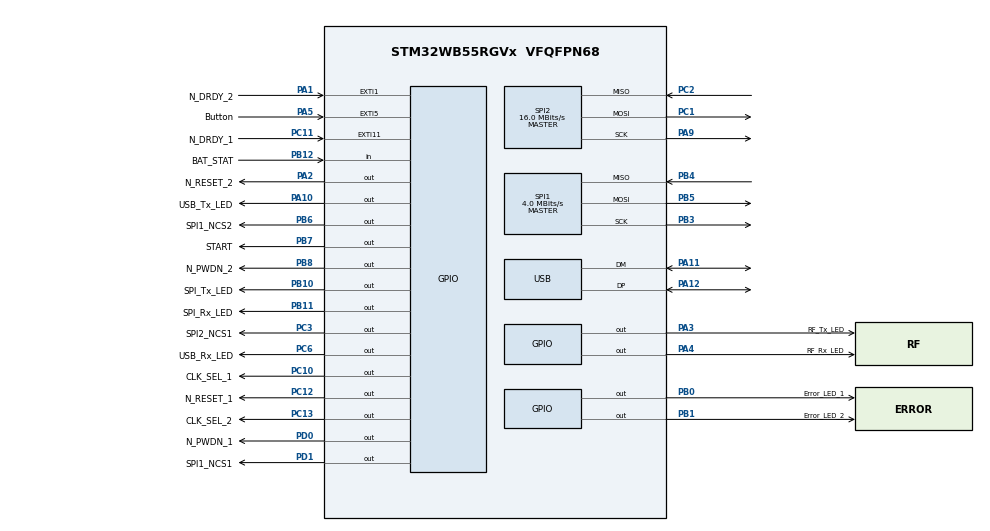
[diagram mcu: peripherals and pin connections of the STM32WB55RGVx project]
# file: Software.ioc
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Dma.Request0=SPI1_TX
Dma.Request1=SPI1_RX
Dma.SPI1_RX.1.Direction=DMA_PERIPH_TO_MEMORY
Dma.SPI1_RX.1.EventEnable=ENABLE
Dma.SPI1_RX.1.Instance=DMA1_Channel2
Dma.SPI1_RX.1.MemDataAlignment=DMA_MDATAALIGN_BYTE
Dma.SPI1_RX.1.MemInc=DMA_MINC_ENABLE
Dma.SPI1_RX.1.Mode=DMA_NORMAL
Dma.SPI1_RX.1.PeriphDataAlignment=DMA_PDATAALIGN_BYTE
Dma.SPI1_RX.1.PeriphInc=DMA_PINC_DISABLE
Dma.SPI1_RX.1.Polarity=HAL_DMAMUX_REQ_GEN_RISING
Dma.SPI1_RX.1.Priority=DMA_PRIORITY_LOW
Dma.SPI1_RX.1.RequestNumber=1
Dma.SPI1_RX.1.SignalID=NONE
Dma.SPI1_RX.1.SyncEnable=DISABLE
Dma.SPI1_RX.1.SyncPolarity=HAL_DMAMUX_SYNC_NO_EVENT
Dma.SPI1_RX.1.SyncRequestNumber=1
Dma.SPI1_RX.1.SyncSignalID=NONE
Dma.SPI1_TX.0.Direction=DMA_MEMORY_TO_PERIPH
Dma.SPI1_TX.0.EventEnable=DISABLE
Dma.SPI1_TX.0.Instance=DMA1_Channel1
Dma.SPI1_TX.0.MemDataAlignment=DMA_MDATAALIGN_BYTE
Dma.SPI1_TX.0.MemInc=DMA_MINC_ENABLE
Dma.SPI1_TX.0.Mode=DMA_NORMAL
Dma.SPI1_TX.0.PeriphDataAlignment=DMA_PDATAALIGN_BYTE
Dma.SPI1_TX.0.PeriphInc=DMA_PINC_DISABLE
Dma.SPI1_TX.0.Polarity=HAL_DMAMUX_REQ_GEN_RISING
Dma.SPI1_TX.0.Priority=DMA_PRIORITY_LOW
Dma.SPI1_TX.0.RequestNumber=1
Dma.SPI1_TX.0.SignalID=NONE
Dma.SPI1_TX.0.SyncEnable=DISABLE
Dma.SPI1_TX.0.SyncPolarity=HAL_DMAMUX_SYNC_NO_EVENT
Dma.SPI1_TX.0.SyncRequestNumber=1
Dma.SPI1_TX.0.SyncSignalID=NONE
FATFS.BOARD_NAME=stm32wb55rg
FATFS.DISKIO_CODE=1
Mcu.Family=STM32WB
Mcu.Name=STM32WB55RGVx
Mcu.Package=VFQFPN68
NVIC.DMA1_Channel1_IRQn=true\:0\:0\:false\:false\:true\:false\:true\:true
NVIC.DMA1_Channel2_IRQn=true\:0\:0\:false\:false\:true\:false\:true\:true
NVIC.DMAMUX1_OVR_IRQn=true\:0\:0\:false\:false\:true\:false\:true\:true
NVIC.EXTI15_10_IRQn=true\:0\:0\:false\:false\:true\:true\:true\:true
NVIC.EXTI1_IRQn=true\:0\:0\:false\:false\:true\:true\:true\:true
NVIC.EXTI9_5_IRQn=true\:15\:0\:true\:false\:true\:true\:true\:true
NVIC.PriorityGroup=NVIC_PRIORITYGROUP_4
NVIC.SPI2_IRQn=true\:0\:0\:false\:false\:true\:true\:true\:true
NVIC.TIM1_CC_IRQn=true\:0\:0\:false\:false\:true\:true\:true\:true
NVIC.TIM2_IRQn=true\:0\:0\:false\:false\:true\:true\:true\:true
NVIC.USB_LP_IRQn=true\:0\:0\:false\:false\:true\:false\:true\:true
OSC_IN.Mode=HSE-External-Oscillator
OSC_IN.Signal=RCC_OSC_IN
OSC_OUT.Mode=HSE-External-Oscillator
OSC_OUT.Signal=RCC_OSC_OUT
PA1.GPIO_Label=N_DRDY_2
PA1.GPIO_ModeDefaultEXTI=GPIO_MODE_IT_FALLING
PA1.GPIO_PuPd=GPIO_PULLUP
PA1.Signal=GPXTI1
PA10.GPIO_Label=USB_Tx_LED
PA10.Signal=GPIO_Output
PA11.Mode=Device
PA11.Signal=USB_DM
PA12.Mode=Device
PA12.Signal=USB_DP
PA13.Mode=Serial_Wire
PA13.Signal=SYS_JTMS-SWDIO
PA14.Mode=Serial_Wire
PA14.Signal=SYS_JTCK-SWCLK
PA2.GPIO_Label=N_RESET_2
PA2.Signal=GPIO_Output
PA3.GPIO_Label=RF_Tx_LED
PA3.Signal=GPIO_Output
PA4.GPIO_Label=RF_Rx_LED
PA4.Signal=GPIO_Output
PA5.GPIO_Label=Button
PA5.GPIO_PuPd=GPIO_PULLDOWN
PA5.Signal=GPXTI5
PA9.GPIO_PuPd=GPIO_PULLUP
PA9.Mode=Full_Duplex_Master
PA9.Signal=SPI2_SCK
PB0.GPIO_Label=Error_LED_1
PB0.Signal=GPIO_Output
PB1.GPIO_Label=Error_LED_2
PB1.Signal=GPIO_Output
PB10.GPIO_Label=SPI_Tx_LED
PB10.Signal=GPIO_Output
PB11.GPIO_Label=SPI_Rx_LED
PB11.Signal=GPIO_Output
PB12.GPIO_Label=BAT_STAT
PB12.Signal=GPIO_Input
PB3.Mode=Full_Duplex_Master
PB3.Signal=SPI1_SCK
PB4.Mode=Full_Duplex_Master
PB4.Signal=SPI1_MISO
PB5.Mode=Full_Duplex_Master
PB5.Signal=SPI1_MOSI
PB6.GPIO_Label=SPI1_NCS2
PB6.Signal=GPIO_Output
PB7.GPIO_Label=START
PB7.Signal=GPIO_Output
PB8.GPIO_Label=N_PWDN_2
PB8.Signal=GPIO_Output
PC1.GPIO_PuPd=GPIO_NOPULL
PC1.Mode=Full_Duplex_Master
PC1.Signal=SPI2_MOSI
PC10.GPIO_Label=CLK_SEL_1
PC10.Signal=GPIO_Output
PC11.GPIO_Label=N_DRDY_1
PC11.GPIO_ModeDefaultEXTI=GPIO_MODE_IT_FALLING
PC11.GPIO_PuPd=GPIO_PULLUP
PC11.Signal=GPXTI11
PC12.GPIO_Label=N_RESET_1
PC12.Signal=GPIO_Output
PC13.GPIO_Label=CLK_SEL_2
PC13.Signal=GPIO_Output
PC14-OSC32_IN.Mode=LSE-External-Oscillator
PC14-OSC32_IN.Signal=RCC_OSC32_IN
PC15-OSC32_OUT.Mode=LSE-External-Oscillator
PC15-OSC32_OUT.Signal=RCC_OSC32_OUT
PC2.GPIO_PuPd=GPIO_NOPULL
PC2.Mode=Full_Duplex_Master
PC2.Signal=SPI2_MISO
PC3.GPIO_Label=SPI2_NCS1
PC3.GPIO_PuPd=GPIO_PULLUP
PC3.PinState=GPIO_PIN_SET
PC3.Signal=GPIO_Output
PC6.GPIO_Label=USB_Rx_LED
PC6.Signal=GPIO_Output
PD0.GPIO_Label=N_PWDN_1
PD0.Signal=GPIO_Output
PD1.GPIO_Label=SPI1_NCS1
PD1.Signal=GPIO_Output
ProjectManager.HeapSize=0x2000
ProjectManager.StackSize=0x4000
ProjectManager.TargetToolchain=MDK-ARM V5.32
RCC.ADCFreq_Value=48000000
RCC.AHB2CLKDivider=RCC_SYSCLK_DIV2
RCC.AHBFreq_Value=64000000
RCC.APB1Freq_Value=64000000
RCC.APB1TimFreq_Value=64000000
RCC.APB2Freq_Value=64000000
RCC.APB2TimFreq_Value=64000000
RCC.APB3Freq_Value=4000000
RCC.Cortex2_Div=SYSTICK_CLKSOURCE_HCLK_DIV8
RCC.CortexFreq_Value=64000000
RCC.HCLKFreq_Value=64000000
RCC.HSE_VALUE=8000000
RCC.HSI48_VALUE=48000000
RCC.HSI_VALUE=16000000
RCC.PLLN=32
RCC.PLLSAI1N=24
RCC.RTCClockSelection=RCC_RTCCLKSOURCE_LSE
RCC.SYSCLKFreq_VALUE=64000000
RCC.SYSCLKSource=RCC_SYSCLKSOURCE_PLLCLK
RCC.USBFreq_Value=48000000
RCC.VCOOutputFreq_Value=128000000
RTC.AsynchPrediv=31
RTC.SynchPrediv=1023
SPI1.BaudRatePrescaler=SPI_BAUDRATEPRESCALER_16
SPI1.CLKPhase=SPI_PHASE_2EDGE
SPI1.CalculateBaudRate=4.0 MBits/s
SPI1.DataSize=SPI_DATASIZE_8BIT
SPI1.Direction=SPI_DIRECTION_2LINES
SPI1.Mode=SPI_MODE_MASTER
SPI1.VirtualType=VM_MASTER
SPI2.BaudRatePrescaler=SPI_BAUDRATEPRESCALER_4
SPI2.CalculateBaudRate=16.0 MBits/s
SPI2.DataSize=SPI_DATASIZE_8BIT
SPI2.Direction=SPI_DIRECTION_2LINES
SPI2.Mode=SPI_MODE_MASTER
SPI2.NSSPMode=SPI_NSS_PULSE_DISABLE
SPI2.VirtualType=VM_MASTER
TIM1.AutoReloadPreload=TIM_AUTORELOAD_PRELOAD_DISABLE
TIM1.Channel-Output\ Compare1\ No\ Output=TIM_CHANNEL_1
TIM1.OC1Preload=DISABLE
TIM1.Period=999
TIM1.Prescaler=32000
TIM1.Pulse-Output\ Compare1\ No\ Output=999
TIM2.AutoReloadPreload=TIM_AUTORELOAD_PRELOAD_ENABLE
TIM2.Period=999
TIM2.Prescaler=32000
TIM2.TIM_MasterOutputTrigger=TIM_TRGO_OC1
USB_DEVICE.CLASS_NAME_FS=CDC
USB_DEVICE.VirtualMode=Cdc
USB_DEVICE.VirtualModeFS=Cdc_FS
VP_FATFS_VS_Generic.Mode=User_defined
VP_RTC_VS_RTC_Activate.Mode=RTC_Enabled
VP_RTC_VS_RTC_Calendar.Mode=RTC_Calendar
VP_TIM1_VS_no_output1.Mode=Output Compare1 No Output
VP_TIM2_VS_ClockSourceINT.Mode=Internal
VP_TIM2_VS_ClockSourceITR.Mode=TriggerSource_ITR0
VP_USB_DEVICE_VS_USB_DEVICE_CDC_FS.Mode=CDC_FS
board=custom

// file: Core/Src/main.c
/* USER CODE BEGIN Header */
/**
  ******************************************************************************
  * @file           : main.c
  * @brief          : Main program body
  ******************************************************************************
  * @attention
  *
  * Copyright (c) 2024 STMicroelectronics.
  * All rights reserved.
  *
  * This software is licensed under terms that can be found in the LICENSE file
  * in the root directory of this software component.
  * If no LICENSE file comes with this software, it is provided AS-IS.
  *
  ******************************************************************************
  */
/* USER CODE END Header */
#include "main.h"
#include "app_fatfs.h"
#include "usb_device.h"

/* USER CODE BEGIN Includes */
#include <string.h>
#include "ads1299.h"
#include "usbd_cdc_if.h"
#include "ff_gen_drv.h"
#include "sd_diskio.h"
/* USER CODE END Includes */

/* USER CODE BEGIN PD */
#define BUFFER1 0
#define BUFFER2 1
/* USER CODE END PD */

RTC_HandleTypeDef hrtc;

SPI_HandleTypeDef hspi1;
SPI_HandleTypeDef hspi2;
DMA_HandleTypeDef hdma_spi1_tx;
DMA_HandleTypeDef hdma_spi1_rx;

TIM_HandleTypeDef htim1;
TIM_HandleTypeDef htim2;

/* USER CODE BEGIN PV */
uint8_t *dataReading;
int32_t dataProcessed[8];
char adc_data_str_buff1[60000];
char adc_data_str_buff2[60000];
char adc_data_str[200];
uint32_t adc_data_count = 0;
uint8_t WRITEBUFFER = BUFFER1;
uint8_t LOCK1 = 0;
uint8_t FULL1 = 0;
uint8_t LOCK2 = 0;
uint8_t FULL2 = 0;
uint8_t RUN = 0;
uint8_t DEMOUNT = 0;
uint8_t MOUNT = 0;
uint32_t timeMeasure[10];
uint32_t buff_i = 0;

/* SD Card*/
FRESULT res;
FIL myFile;

RTC_TimeTypeDef stime;
RTC_DateTypeDef sdate;

char log_file[32] = "Log.csv";

/* USER CODE END PV */

void SystemClock_Config(void);
void PeriphCommonClock_Config(void);
static void MX_GPIO_Init(void);
static void MX_DMA_Init(void);
static void MX_SPI1_Init(void);
static void MX_SPI2_Init(void);
static void MX_RTC_Init(void);
static void MX_TIM2_Init(void);
static void MX_TIM1_Init(void);
/* USER CODE BEGIN PFP */

int16_t FS_FILE_Write(char *data);
FRESULT sd_mount(void);
FRESULT sd_unmount(void);
void buttonTask(void);

/* USER CODE END PFP */

int main(void)
{

  /* MCU Configuration--------------------------------------------------------*/

  /* Reset of all peripherals, Initializes the Flash interface and the Systick. */
  HAL_Init();

  /* Configure the system clock */
  SystemClock_Config();

/* Configure the peripherals common clocks */
  PeriphCommonClock_Config();

  /* Initialize all configured peripherals */
  MX_GPIO_Init();
  MX_DMA_Init();
  MX_SPI1_Init();
  MX_SPI2_Init();
  if (MX_FATFS_Init() != APP_OK) {
    Error_Handler();
  }
  MX_USB_Device_Init();
  MX_RTC_Init();
  MX_TIM2_Init();
  MX_TIM1_Init();
  /* USER CODE BEGIN 2 */

	/* Init SD Card*/
	BSP_SD_Init();

	/* Enable Timer for LEDs */
	HAL_TIM_OC_Start(&htim1, 1);

	/* ADS1299 Initialization */
	ADS1299_Init(&hspi1, SPI1_NCS1_GPIO_Port, SPI1_NCS1_Pin, CLK_SEL_1_GPIO_Port, CLK_SEL_1_Pin, false,
	N_PWDN_1_GPIO_Port , N_PWDN_1_Pin, N_RESET_1_GPIO_Port, N_RESET_1_Pin);

	/* activate conversion */
	HAL_GPIO_WritePin(START_GPIO_Port, START_Pin, GPIO_PIN_SET);
	HAL_Delay(100);

  /* USER CODE END 2 */

  /* Infinite loop */
  /* USER CODE BEGIN WHILE */
  while (1)
  {
			/* SD-Card Writing was activated by button push */
			if(MOUNT){
				/* Init Write file */
				/* Mount SD Card */
				res = sd_mount();
				/* Check if mounting was successfull */
				if(res != FR_OK) {
					HAL_GPIO_WritePin(Error_LED_1_GPIO_Port, Error_LED_1_Pin, GPIO_PIN_SET);
				}

				/* Open file in append and write mode */
				res = f_open(&myFile, log_file, FA_OPEN_APPEND | FA_WRITE);
				/* Check if file opening was successfull */
				if(res != FR_OK) {
					HAL_GPIO_WritePin(Error_LED_1_GPIO_Port, Error_LED_1_Pin, GPIO_PIN_SET);
					sd_unmount();
				}

				/* Mount was successfull, deactivate MOUNT Flag */
				MOUNT = 0;

				/* Write header line to file */
				FS_FILE_Write("timestamp;value1;value2;value3;value4;value5;value6;value7;value8\n");
			}

			/* SD Card Writing is active */
			if(RUN){
				/*
				 * Write one of the two write buffers to the sd card. One of the two FULL
				 * Flags is set at any time, the other one is false. The full buffer is
				 * written to the sd-card. The other buffer is filled with new measurement
				 * data at the same time by an interrrupt with higher priority (HAL_SPI_TxRxCpltCallback).
				 */
				if(FULL1){
				/* Mark start write */
				HAL_GPIO_WritePin(SPI_Tx_LED_GPIO_Port, SPI_Tx_LED_Pin, GPIO_PIN_SET);
				/* Write SD Card */
				FS_FILE_Write(adc_data_str_buff1);
				/* Empty data buffer */
				strncpy(adc_data_str_buff1, "",1);
				/* Mark buffer as emptied */
				FULL1 = 0;
				/* Mark write finished */
				HAL_GPIO_WritePin(SPI_Tx_LED_GPIO_Port, SPI_Tx_LED_Pin, GPIO_PIN_RESET);
				}
				if(FULL2){
				/* Mark start write */
  			HAL_GPIO_WritePin(SPI_Tx_LED_GPIO_Port,  SPI_Tx_LED_Pin, GPIO_PIN_SET);
				/* Write SD Card */
				FS_FILE_Write(adc_data_str_buff2);
				/* Empty data buffer */
				strncpy(adc_data_str_buff2, "",1);
				/* Mark buffer as emptied */
				FULL2 = 0;
				/* Mark write finished */
				HAL_GPIO_WritePin(SPI_Tx_LED_GPIO_Port, SPI_Tx_LED_Pin, GPIO_PIN_RESET);
				}
			}

			/* SD-Card Writing was deactivated by button push */
			if(DEMOUNT){
				/* Close write file */
				res = f_close(&myFile);
				/* Unmount SD Card*/
				res = sd_unmount();
				/* DEMOUNT was successfull, deactivate DEMOUNT Flag */
				DEMOUNT = 0;
			}

    /* USER CODE END WHILE */

  }
}

void SystemClock_Config(void)
{
  RCC_OscInitTypeDef RCC_OscInitStruct = {0};
  RCC_ClkInitTypeDef RCC_ClkInitStruct = {0};

  /** Configure LSE Drive Capability
  */
  HAL_PWR_EnableBkUpAccess();
  __HAL_RCC_LSEDRIVE_CONFIG(RCC_LSEDRIVE_MEDIUMHIGH);

  /** Configure the main internal regulator output voltage
  */
  __HAL_PWR_VOLTAGESCALING_CONFIG(PWR_REGULATOR_VOLTAGE_SCALE1);

  /** Initializes the RCC Oscillators according to the specified parameters
  * in the RCC_OscInitTypeDef structure.
  */
  RCC_OscInitStruct.OscillatorType = RCC_OSCILLATORTYPE_HSI|RCC_OSCILLATORTYPE_HSE
                              |RCC_OSCILLATORTYPE_LSE|RCC_OSCILLATORTYPE_MSI;
  RCC_OscInitStruct.HSEState = RCC_HSE_ON;
  RCC_OscInitStruct.LSEState = RCC_LSE_ON;
  RCC_OscInitStruct.HSIState = RCC_HSI_ON;
  RCC_OscInitStruct.MSIState = RCC_MSI_ON;
  RCC_OscInitStruct.HSICalibrationValue = RCC_HSICALIBRATION_DEFAULT;
  RCC_OscInitStruct.MSICalibrationValue = RCC_MSICALIBRATION_DEFAULT;
  RCC_OscInitStruct.MSIClockRange = RCC_MSIRANGE_6;
  RCC_OscInitStruct.PLL.PLLState = RCC_PLL_ON;
  RCC_OscInitStruct.PLL.PLLSource = RCC_PLLSOURCE_MSI;
  RCC_OscInitStruct.PLL.PLLM = RCC_PLLM_DIV1;
  RCC_OscInitStruct.PLL.PLLN = 32;
  RCC_OscInitStruct.PLL.PLLP = RCC_PLLP_DIV2;
  RCC_OscInitStruct.PLL.PLLR = RCC_PLLR_DIV2;
  RCC_OscInitStruct.PLL.PLLQ = RCC_PLLQ_DIV2;
  if (HAL_RCC_OscConfig(&RCC_OscInitStruct) != HAL_OK)
  {
    Error_Handler();
  }

  /** Configure the SYSCLKSource, HCLK, PCLK1 and PCLK2 clocks dividers
  */
  RCC_ClkInitStruct.ClockType = RCC_CLOCKTYPE_HCLK4|RCC_CLOCKTYPE_HCLK2
                              |RCC_CLOCKTYPE_HCLK|RCC_CLOCKTYPE_SYSCLK
                              |RCC_CLOCKTYPE_PCLK1|RCC_CLOCKTYPE_PCLK2;
  RCC_ClkInitStruct.SYSCLKSource = RCC_SYSCLKSOURCE_PLLCLK;
  RCC_ClkInitStruct.AHBCLKDivider = RCC_SYSCLK_DIV1;
  RCC_ClkInitStruct.APB1CLKDivider = RCC_HCLK_DIV1;
  RCC_ClkInitStruct.APB2CLKDivider = RCC_HCLK_DIV1;
  RCC_ClkInitStruct.AHBCLK2Divider = RCC_SYSCLK_DIV2;
  RCC_ClkInitStruct.AHBCLK4Divider = RCC_SYSCLK_DIV1;

  if (HAL_RCC_ClockConfig(&RCC_ClkInitStruct, FLASH_LATENCY_3) != HAL_OK)
  {
    Error_Handler();
  }

  /** Enable MSI Auto calibration
  */
  HAL_RCCEx_EnableMSIPLLMode();
}

void PeriphCommonClock_Config(void)
{
  RCC_PeriphCLKInitTypeDef PeriphClkInitStruct = {0};

  /** Initializes the peripherals clock
  */
  PeriphClkInitStruct.PeriphClockSelection = RCC_PERIPHCLK_SMPS;
  PeriphClkInitStruct.SmpsClockSelection = RCC_SMPSCLKSOURCE_HSI;
  PeriphClkInitStruct.SmpsDivSelection = RCC_SMPSCLKDIV_RANGE1;

  if (HAL_RCCEx_PeriphCLKConfig(&PeriphClkInitStruct) != HAL_OK)
  {
    Error_Handler();
  }
}

static void MX_RTC_Init(void)
{

  RTC_TimeTypeDef sTime = {0};
  RTC_DateTypeDef sDate = {0};

  /** Initialize RTC Only
  */
  hrtc.Instance = RTC;
  hrtc.Init.HourFormat = RTC_HOURFORMAT_24;
  hrtc.Init.AsynchPrediv = 31;
  hrtc.Init.SynchPrediv = 1023;
  hrtc.Init.OutPut = RTC_OUTPUT_DISABLE;
  hrtc.Init.OutPutPolarity = RTC_OUTPUT_POLARITY_HIGH;
  hrtc.Init.OutPutType = RTC_OUTPUT_TYPE_OPENDRAIN;
  hrtc.Init.OutPutRemap = RTC_OUTPUT_REMAP_NONE;
  if (HAL_RTC_Init(&hrtc) != HAL_OK)
  {
    Error_Handler();
  }

  /** Initialize RTC and set the Time and Date
  */
  sTime.Hours = 0x0;
  sTime.Minutes = 0x0;
  sTime.Seconds = 0x0;
  sTime.SubSeconds = 0x0;
  sTime.DayLightSaving = RTC_DAYLIGHTSAVING_NONE;
  sTime.StoreOperation = RTC_STOREOPERATION_RESET;
  if (HAL_RTC_SetTime(&hrtc, &sTime, RTC_FORMAT_BCD) != HAL_OK)
  {
    Error_Handler();
  }
  sDate.WeekDay = RTC_WEEKDAY_MONDAY;
  sDate.Month = RTC_MONTH_JANUARY;
  sDate.Date = 0x1;
  sDate.Year = 0x0;

  if (HAL_RTC_SetDate(&hrtc, &sDate, RTC_FORMAT_BCD) != HAL_OK)
  {
    Error_Handler();
  }

}

static void MX_SPI1_Init(void)
{

  /* SPI1 parameter configuration*/
  hspi1.Instance = SPI1;
  hspi1.Init.Mode = SPI_MODE_MASTER;
  hspi1.Init.Direction = SPI_DIRECTION_2LINES;
  hspi1.Init.DataSize = SPI_DATASIZE_8BIT;
  hspi1.Init.CLKPolarity = SPI_POLARITY_LOW;
  hspi1.Init.CLKPhase = SPI_PHASE_2EDGE;
  hspi1.Init.NSS = SPI_NSS_SOFT;
  hspi1.Init.BaudRatePrescaler = SPI_BAUDRATEPRESCALER_16;
  hspi1.Init.FirstBit = SPI_FIRSTBIT_MSB;
  hspi1.Init.TIMode = SPI_TIMODE_DISABLE;
  hspi1.Init.CRCCalculation = SPI_CRCCALCULATION_DISABLE;
  hspi1.Init.CRCPolynomial = 7;
  hspi1.Init.CRCLength = SPI_CRC_LENGTH_DATASIZE;
  hspi1.Init.NSSPMode = SPI_NSS_PULSE_DISABLE;
  if (HAL_SPI_Init(&hspi1) != HAL_OK)
  {
    Error_Handler();
  }

}

static void MX_SPI2_Init(void)
{

  /* SPI2 parameter configuration*/
  hspi2.Instance = SPI2;
  hspi2.Init.Mode = SPI_MODE_MASTER;
  hspi2.Init.Direction = SPI_DIRECTION_2LINES;
  hspi2.Init.DataSize = SPI_DATASIZE_8BIT;
  hspi2.Init.CLKPolarity = SPI_POLARITY_LOW;
  hspi2.Init.CLKPhase = SPI_PHASE_1EDGE;
  hspi2.Init.NSS = SPI_NSS_SOFT;
  hspi2.Init.BaudRatePrescaler = SPI_BAUDRATEPRESCALER_4;
  hspi2.Init.FirstBit = SPI_FIRSTBIT_MSB;
  hspi2.Init.TIMode = SPI_TIMODE_DISABLE;
  hspi2.Init.CRCCalculation = SPI_CRCCALCULATION_DISABLE;
  hspi2.Init.CRCPolynomial = 7;
  hspi2.Init.CRCLength = SPI_CRC_LENGTH_DATASIZE;
  hspi2.Init.NSSPMode = SPI_NSS_PULSE_DISABLE;
  if (HAL_SPI_Init(&hspi2) != HAL_OK)
  {
    Error_Handler();
  }

}

static void MX_TIM1_Init(void)
{

  TIM_MasterConfigTypeDef sMasterConfig = {0};
  TIM_OC_InitTypeDef sConfigOC = {0};
  TIM_BreakDeadTimeConfigTypeDef sBreakDeadTimeConfig = {0};

  htim1.Instance = TIM1;
  htim1.Init.Prescaler = 32000;
  htim1.Init.CounterMode = TIM_COUNTERMODE_UP;
  htim1.Init.Period = 999;
  htim1.Init.ClockDivision = TIM_CLOCKDIVISION_DIV1;
  htim1.Init.RepetitionCounter = 0;
  htim1.Init.AutoReloadPreload = TIM_AUTORELOAD_PRELOAD_DISABLE;
  if (HAL_TIM_OC_Init(&htim1) != HAL_OK)
  {
    Error_Handler();
  }
  sMasterConfig.MasterOutputTrigger = TIM_TRGO_RESET;
  sMasterConfig.MasterOutputTrigger2 = TIM_TRGO2_RESET;
  sMasterConfig.MasterSlaveMode = TIM_MASTERSLAVEMODE_DISABLE;
  if (HAL_TIMEx_MasterConfigSynchronization(&htim1, &sMasterConfig) != HAL_OK)
  {
    Error_Handler();
  }
  sConfigOC.OCMode = TIM_OCMODE_TIMING;
  sConfigOC.Pulse = 999;
  sConfigOC.OCPolarity = TIM_OCPOLARITY_HIGH;
  sConfigOC.OCNPolarity = TIM_OCNPOLARITY_HIGH;
  sConfigOC.OCFastMode = TIM_OCFAST_DISABLE;
  sConfigOC.OCIdleState = TIM_OCIDLESTATE_RESET;
  sConfigOC.OCNIdleState = TIM_OCNIDLESTATE_RESET;
  if (HAL_TIM_OC_ConfigChannel(&htim1, &sConfigOC, TIM_CHANNEL_1) != HAL_OK)
  {
    Error_Handler();
  }
  sBreakDeadTimeConfig.OffStateRunMode = TIM_OSSR_DISABLE;
  sBreakDeadTimeConfig.OffStateIDLEMode = TIM_OSSI_DISABLE;
  sBreakDeadTimeConfig.LockLevel = TIM_LOCKLEVEL_OFF;
  sBreakDeadTimeConfig.DeadTime = 0;
  sBreakDeadTimeConfig.BreakState = TIM_BREAK_DISABLE;
  sBreakDeadTimeConfig.BreakPolarity = TIM_BREAKPOLARITY_HIGH;
  sBreakDeadTimeConfig.BreakFilter = 0;
  sBreakDeadTimeConfig.BreakAFMode = TIM_BREAK_AFMODE_INPUT;
  sBreakDeadTimeConfig.Break2State = TIM_BREAK2_DISABLE;
  sBreakDeadTimeConfig.Break2Polarity = TIM_BREAK2POLARITY_HIGH;
  sBreakDeadTimeConfig.Break2Filter = 0;
  sBreakDeadTimeConfig.Break2AFMode = TIM_BREAK_AFMODE_INPUT;
  sBreakDeadTimeConfig.AutomaticOutput = TIM_AUTOMATICOUTPUT_DISABLE;
  if (HAL_TIMEx_ConfigBreakDeadTime(&htim1, &sBreakDeadTimeConfig) != HAL_OK)
  {
    Error_Handler();
  }

}

static void MX_TIM2_Init(void)
{

  TIM_ClockConfigTypeDef sClockSourceConfig = {0};
  TIM_SlaveConfigTypeDef sSlaveConfig = {0};
  TIM_MasterConfigTypeDef sMasterConfig = {0};

  htim2.Instance = TIM2;
  htim2.Init.Prescaler = 32000;
  htim2.Init.CounterMode = TIM_COUNTERMODE_UP;
  htim2.Init.Period = 999;
  htim2.Init.ClockDivision = TIM_CLOCKDIVISION_DIV1;
  htim2.Init.AutoReloadPreload = TIM_AUTORELOAD_PRELOAD_ENABLE;
  if (HAL_TIM_Base_Init(&htim2) != HAL_OK)
  {
    Error_Handler();
  }
  sClockSourceConfig.ClockSource = TIM_CLOCKSOURCE_INTERNAL;
  if (HAL_TIM_ConfigClockSource(&htim2, &sClockSourceConfig) != HAL_OK)
  {
    Error_Handler();
  }
  sSlaveConfig.SlaveMode = TIM_SLAVEMODE_DISABLE;
  sSlaveConfig.InputTrigger = TIM_TS_ITR0;
  if (HAL_TIM_SlaveConfigSynchro(&htim2, &sSlaveConfig) != HAL_OK)
  {
    Error_Handler();
  }
  sMasterConfig.MasterOutputTrigger = TIM_TRGO_OC1;
  sMasterConfig.MasterSlaveMode = TIM_MASTERSLAVEMODE_DISABLE;
  if (HAL_TIMEx_MasterConfigSynchronization(&htim2, &sMasterConfig) != HAL_OK)
  {
    Error_Handler();
  }

}

static void MX_DMA_Init(void)
{

  /* DMA controller clock enable */
  __HAL_RCC_DMAMUX1_CLK_ENABLE();
  __HAL_RCC_DMA1_CLK_ENABLE();

  /* DMA interrupt init */
  /* DMA1_Channel1_IRQn interrupt configuration */
  HAL_NVIC_SetPriority(DMA1_Channel1_IRQn, 0, 0);
  HAL_NVIC_EnableIRQ(DMA1_Channel1_IRQn);
  /* DMA1_Channel2_IRQn interrupt configuration */
  HAL_NVIC_SetPriority(DMA1_Channel2_IRQn, 0, 0);
  HAL_NVIC_EnableIRQ(DMA1_Channel2_IRQn);
  /* DMAMUX1_OVR_IRQn interrupt configuration */
  HAL_NVIC_SetPriority(DMAMUX1_OVR_IRQn, 0, 0);
  HAL_NVIC_EnableIRQ(DMAMUX1_OVR_IRQn);

}

static void MX_GPIO_Init(void)
{
  GPIO_InitTypeDef GPIO_InitStruct = {0};

  /* GPIO Ports Clock Enable */
  __HAL_RCC_GPIOC_CLK_ENABLE();
  __HAL_RCC_GPIOB_CLK_ENABLE();
  __HAL_RCC_GPIOA_CLK_ENABLE();
  __HAL_RCC_GPIOD_CLK_ENABLE();

  /*Configure GPIO pin Output Level */
  HAL_GPIO_WritePin(GPIOC, CLK_SEL_2_Pin|USB_Rx_LED_Pin|CLK_SEL_1_Pin|N_RESET_1_Pin, GPIO_PIN_RESET);

  /*Configure GPIO pin Output Level */
  HAL_GPIO_WritePin(GPIOB, N_PWDN_2_Pin|SPI_Tx_LED_Pin|SPI_Rx_LED_Pin|Error_LED_1_Pin
                          |Error_LED_2_Pin|SPI1_NCS2_Pin|START_Pin, GPIO_PIN_RESET);

  /*Configure GPIO pin Output Level */
  HAL_GPIO_WritePin(SPI2_NCS1_GPIO_Port, SPI2_NCS1_Pin, GPIO_PIN_SET);

  /*Configure GPIO pin Output Level */
  HAL_GPIO_WritePin(GPIOA, N_RESET_2_Pin|RF_Tx_LED_Pin|RF_Rx_LED_Pin|USB_Tx_LED_Pin, GPIO_PIN_RESET);

  /*Configure GPIO pin Output Level */
  HAL_GPIO_WritePin(GPIOD, N_PWDN_1_Pin|SPI1_NCS1_Pin, GPIO_PIN_RESET);

  /*Configure GPIO pins : CLK_SEL_2_Pin USB_Rx_LED_Pin CLK_SEL_1_Pin N_RESET_1_Pin */
  GPIO_InitStruct.Pin = CLK_SEL_2_Pin|USB_Rx_LED_Pin|CLK_SEL_1_Pin|N_RESET_1_Pin;
  GPIO_InitStruct.Mode = GPIO_MODE_OUTPUT_PP;
  GPIO_InitStruct.Pull = GPIO_NOPULL;
  GPIO_InitStruct.Speed = GPIO_SPEED_FREQ_LOW;
  HAL_GPIO_Init(GPIOC, &GPIO_InitStruct);

  /*Configure GPIO pins : N_PWDN_2_Pin SPI_Tx_LED_Pin SPI_Rx_LED_Pin Error_LED_1_Pin
                           Error_LED_2_Pin SPI1_NCS2_Pin START_Pin */
  GPIO_InitStruct.Pin = N_PWDN_2_Pin|SPI_Tx_LED_Pin|SPI_Rx_LED_Pin|Error_LED_1_Pin
                          |Error_LED_2_Pin|SPI1_NCS2_Pin|START_Pin;
  GPIO_InitStruct.Mode = GPIO_MODE_OUTPUT_PP;
  GPIO_InitStruct.Pull = GPIO_NOPULL;
  GPIO_InitStruct.Speed = GPIO_SPEED_FREQ_LOW;
  HAL_GPIO_Init(GPIOB, &GPIO_InitStruct);

  /*Configure GPIO pin : SPI2_NCS1_Pin */
  GPIO_InitStruct.Pin = SPI2_NCS1_Pin;
  GPIO_InitStruct.Mode = GPIO_MODE_OUTPUT_PP;
  GPIO_InitStruct.Pull = GPIO_PULLUP;
  GPIO_InitStruct.Speed = GPIO_SPEED_FREQ_LOW;
  HAL_GPIO_Init(SPI2_NCS1_GPIO_Port, &GPIO_InitStruct);

  /*Configure GPIO pin : N_DRDY_2_Pin */
  GPIO_InitStruct.Pin = N_DRDY_2_Pin;
  GPIO_InitStruct.Mode = GPIO_MODE_IT_FALLING;
  GPIO_InitStruct.Pull = GPIO_PULLUP;
  HAL_GPIO_Init(N_DRDY_2_GPIO_Port, &GPIO_InitStruct);

  /*Configure GPIO pins : N_RESET_2_Pin RF_Tx_LED_Pin RF_Rx_LED_Pin USB_Tx_LED_Pin */
  GPIO_InitStruct.Pin = N_RESET_2_Pin|RF_Tx_LED_Pin|RF_Rx_LED_Pin|USB_Tx_LED_Pin;
  GPIO_InitStruct.Mode = GPIO_MODE_OUTPUT_PP;
  GPIO_InitStruct.Pull = GPIO_NOPULL;
  GPIO_InitStruct.Speed = GPIO_SPEED_FREQ_LOW;
  HAL_GPIO_Init(GPIOA, &GPIO_InitStruct);

  /*Configure GPIO pin : Button_Pin */
  GPIO_InitStruct.Pin = Button_Pin;
  GPIO_InitStruct.Mode = GPIO_MODE_IT_RISING;
  GPIO_InitStruct.Pull = GPIO_PULLDOWN;
  HAL_GPIO_Init(Button_GPIO_Port, &GPIO_InitStruct);

  /*Configure GPIO pin : BAT_STAT_Pin */
  GPIO_InitStruct.Pin = BAT_STAT_Pin;
  GPIO_InitStruct.Mode = GPIO_MODE_INPUT;
  GPIO_InitStruct.Pull = GPIO_NOPULL;
  HAL_GPIO_Init(BAT_STAT_GPIO_Port, &GPIO_InitStruct);

  /*Configure GPIO pin : N_DRDY_1_Pin */
  GPIO_InitStruct.Pin = N_DRDY_1_Pin;
  GPIO_InitStruct.Mode = GPIO_MODE_IT_FALLING;
  GPIO_InitStruct.Pull = GPIO_PULLUP;
  HAL_GPIO_Init(N_DRDY_1_GPIO_Port, &GPIO_InitStruct);

  /*Configure GPIO pins : N_PWDN_1_Pin SPI1_NCS1_Pin */
  GPIO_InitStruct.Pin = N_PWDN_1_Pin|SPI1_NCS1_Pin;
  GPIO_InitStruct.Mode = GPIO_MODE_OUTPUT_PP;
  GPIO_InitStruct.Pull = GPIO_NOPULL;
  GPIO_InitStruct.Speed = GPIO_SPEED_FREQ_LOW;
  HAL_GPIO_Init(GPIOD, &GPIO_InitStruct);

  /* EXTI interrupt init*/
  HAL_NVIC_SetPriority(EXTI1_IRQn, 0, 0);
  HAL_NVIC_EnableIRQ(EXTI1_IRQn);

  HAL_NVIC_SetPriority(EXTI9_5_IRQn, 15, 0);
  HAL_NVIC_EnableIRQ(EXTI9_5_IRQn);

  HAL_NVIC_SetPriority(EXTI15_10_IRQn, 0, 0);
  HAL_NVIC_EnableIRQ(EXTI15_10_IRQn);

}

/* USER CODE BEGIN 4 */

/*
 * SPI TxCplt Callback
 */
void HAL_SPI_TxCpltCallback(SPI_HandleTypeDef *hspi){

	if(hspi == &hspi1){
		HAL_GPIO_WritePin(SPI1_NCS1_GPIO_Port, SPI1_NCS1_Pin, GPIO_PIN_SET);
		HAL_GPIO_WritePin(SPI1_NCS2_GPIO_Port, SPI1_NCS2_Pin, GPIO_PIN_SET);
	}
	if(hspi == &hspi2){
//		HAL_GPIO_WritePin(SPI2_NCS1_GPIO_Port, SPI2_NCS1_Pin, GPIO_PIN_SET);
	}
	// timing requirements
//	HAL_Delay(50);
}

/*
 * SPI TxRxCplt Callback
 */
void HAL_SPI_TxRxCpltCallback(SPI_HandleTypeDef *hspi){
	/* Measurement data was read*/
	if(hspi == &hspi1){

		/* Deactivat SPI CS Pins */
		HAL_GPIO_WritePin(SPI1_NCS1_GPIO_Port, SPI1_NCS1_Pin, GPIO_PIN_SET); // Pin 1
//	HAL_GPIO_WritePin(SPI1_NCS2_GPIO_Port, SPI1_NCS2_Pin, GPIO_PIN_SET); // Pin 2

		/* Convert ADS1299 data format to uint32_t */
		ADS1299_Convert_Data(dataReading,dataProcessed);
		/* Send measurement data over USB interface for live plotting */
		CDC_Transmit_FS((uint8_t*)dataProcessed,32);

		/* If active running is deactivated data is not saved */
		if(!RUN){
			return;
		}

		/* Create a timestamp */
		HAL_RTC_GetTime(&hrtc, &stime, RTC_FORMAT_BCD);
		HAL_RTC_GetDate(&hrtc, &sdate,RTC_FORMAT_BCD);

		/* Write into Buffer. Write either Buffer 1 or Buffer 2*/
		/* Write to Buffer 1 */
		if(WRITEBUFFER == BUFFER1){
			/* Create formatstring in CSV data format */
			sprintf(adc_data_str_buff1 + buff_i,"%x-%x-%x-%03d;%d;%d;%d;%d;%d;%d;%d;%d \n", stime.Hours, stime.Minutes, stime.Seconds, 999 - (stime.SubSeconds * 1000 / 1024), dataProcessed[0],dataProcessed[1],dataProcessed[2],dataProcessed[3],dataProcessed[4],dataProcessed[5],dataProcessed[6],dataProcessed[7]);

			do{
				buff_i++;
			}while(adc_data_str_buff1[buff_i] != NULL);
		}

		/* Write to Buffer 2 */
		if(WRITEBUFFER == BUFFER2){
			sprintf(adc_data_str_buff2 + buff_i,"%x-%x-%x-%03d;%d;%d;%d;%d;%d;%d;%d;%d \n", stime.Hours, stime.Minutes, stime.Seconds, 999 - (stime.SubSeconds * 1000 / 1024), dataProcessed[0],dataProcessed[1],dataProcessed[2],dataProcessed[3],dataProcessed[4],dataProcessed[5],dataProcessed[6],dataProcessed[7]);
			/* set buff_i to the end of the buffer */
			do{
				buff_i++;
			}while(adc_data_str_buff2[buff_i] != NULL);
		}

		/* increase data counter */
		adc_data_count++;

		/* if a buffer is full (300 values) switch the buffer*/
		if(adc_data_count >= 300){
			/* Mark current buffer as FULL*/
			if(WRITEBUFFER == BUFFER1){
				FULL1 = 1;
			}
			if(WRITEBUFFER == BUFFER2){
				FULL2 = 1;
			}

			/* Set new WRITEBUFFER*/
			if(!FULL1){
					WRITEBUFFER = BUFFER1;
			}
			else if(!FULL2){
					WRITEBUFFER = BUFFER2;
			}else{
					/* Error if Both Buffers are occupied -> timing Issue*/
					HAL_GPIO_WritePin(Error_LED_1_GPIO_Port, Error_LED_1_Pin, GPIO_PIN_SET);
			}
			/* Reset buffer end point */
			buff_i = 0;
			/* Reset data counter */
			adc_data_count = 0;
		}
	}

	/* SPI 2 was Read */
	if(hspi == &hspi2){
			/*Implement here what should happen after spi2 read*/
	}
}

/*
 * SPI EXTI Callback
 */
void HAL_GPIO_EXTI_Callback(uint16_t GPIO_Pin){
		switch(GPIO_Pin){
			case N_DRDY_1_Pin:
//				ADS1299_WriteRegister(GPIO, 0xF0);
				dataReading = ADS1299_RDATA();

//				CDC_Transmit_FS((uint8_t*)"hi", 2);

//				ADS1299_WriteRegister(GPIO, 0x00);
				break;
			case N_DRDY_2_Pin:
				ADS1299_WriteRegister(GPIO, 0xF0);
				break;
			case Button_Pin:
				 buttonTask();
				break;
			default:
				break;
		}
}

void HAL_TIM_OC_DelayElapsedCallback(TIM_HandleTypeDef *htim){
	HAL_GPIO_TogglePin(SPI_Rx_LED_GPIO_Port, SPI_Rx_LED_Pin);
}

/**
* @brief  write data to the file
* @param  filename
* @param  data
* @return status int16_t: bytes_written < 0, FRESULT >=0
*/
int16_t FS_FILE_Write(char *data) {
	FRESULT res;

	uint16_t bytes_written;

	// 2. write data to file
	// res = f_write(&myFile, data, strlen(data), (void *)&bytes_written);
	bytes_written = f_puts(data, &myFile);

	// 5. return status: bytes_written < 0, FRESULT >=0
	return -1 * bytes_written;
}

/**
* @brief  mount uSD card
* @return FRESULT
*/
FRESULT sd_mount(void) {
	FRESULT res = f_mount(&SDFatFs, SDPath, 1);
	//HAL_Delay(10);
	return res;
}

/**
* @brief  unmount uSD card
* @return FRESULT
*/
FRESULT sd_unmount(void) {
	return f_mount(0, SDPath, 0);
}

void buttonTask(void){

	/* Software debounce*/
	HAL_Delay(10);
	if(!HAL_GPIO_ReadPin(Button_GPIO_Port,  Button_Pin)) return;

	/* if not running start run*/
	if(!RUN){
		/* initialize a run*/
		MOUNT = 1;
		RUN = 1;

		/* reset time*/
		stime.Hours = 0;
		stime.Minutes = 0;
		stime.Seconds = 0;
		stime.SubSeconds = 0;
		HAL_RTC_SetTime(&hrtc, &stime, RTC_FORMAT_BCD);

		/* re-init writing variables*/
		WRITEBUFFER = BUFFER1;
		buff_i = 0;
		adc_data_count = 0;

		/* mark running*/
		HAL_GPIO_WritePin(SPI_Rx_LED_GPIO_Port, SPI_Rx_LED_Pin, GPIO_PIN_SET);

		return;
	}

	/* If running, stop run*/
	if(RUN){
		RUN = 0;
		DEMOUNT = 1;

		/* RESET Error*/
  	HAL_GPIO_WritePin(Error_LED_1_GPIO_Port, Error_LED_1_Pin, GPIO_PIN_RESET);

		/* Mark Not Running*/
		HAL_GPIO_WritePin(SPI_Rx_LED_GPIO_Port, SPI_Rx_LED_Pin, GPIO_PIN_RESET);
		return;
	}

}
/* USER CODE END 4 */

void Error_Handler(void)
{
  __disable_irq();
  while (1)
  {
  }
}
